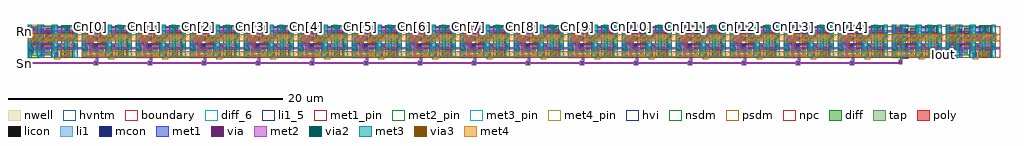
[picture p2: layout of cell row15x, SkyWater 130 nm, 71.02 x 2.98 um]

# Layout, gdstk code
import gdstk
lib = gdstk.Library(unit=1e-6, precision=1e-09)
def R(c, l, rs):  # rectangles x0, y0, x1, y1
    for r in rs: c.add(gdstk.rectangle(r[:2], r[2:], *l))
def A(c, l, x, y, w, h, nx, ny, dx, dy):  # array of equal rectangles
    R(c, l, [(x+i*dx, y+j*dy, x+i*dx+w, y+j*dy+h) for i in range(nx) for j in range(ny)])
nwell = (64, 20)
diff_6 = (65, 6)
diff = (65, 20)
tap = (65, 44)
poly = (66, 20)
licon = (66, 44)
li1_5 = (67, 5)
li1 = (67, 20)
mcon = (67, 44)
met1_pin = (68, 16)
met1 = (68, 20)
via = (68, 44)
met2_pin = (69, 16)
met2 = (69, 20)
via2 = (69, 44)
met3_pin = (70, 16)
met3 = (70, 20)
via3 = (70, 44)
met4_pin = (71, 16)
met4 = (71, 20)
hvi = (75, 20)
nsdm = (93, 44)
psdm = (94, 20)
npc = (95, 20)
hvntm = (125, 20)
boundary = (235, 4)

icell = lib.new_cell('icell')
R(icell, nwell, [(0,-0.04,0.86,2.43)])
R(icell, diff_6, [(2.65,1.13,3.05,1.28), (0.26,1.57,0.6,1.71)])
R(icell, diff, [(2.6,0.23,3.1,2.18), (1.28,0.32,1.59,0.66), (0.18,0.61,0.68,2.19), (1.28,0.66,1.78,2.19), (1.28,2.19,1.59,2.21)])
R(icell, tap, [(2.06,0.02,2.23,0.44), (0.18,0.14,0.68,0.61)])
R(icell, poly, [(2.16,0.58,3.54,1.08), (0.87,0.73,1.14,0.91), (0.05,0.91,1.92,1.06), (0.84,1.29,1.17,1.35), (2.16,1.33,3.54,1.83), (0.05,1.35,1.92,1.5), (0.84,1.5,1.17,1.56), (0.05,1.77,1.14,1.79), (0.05,1.79,1.92,1.92), (0.87,1.92,1.92,1.94), (0.87,1.94,1.14,2.12)])
A(icell, licon, 0.92, 0.81, 0.17, 0.17, 1, 3, 0, 0.53)
R(icell, licon, [(2.06,0.15,2.23,0.32), (2.765,0.295,2.935,0.465), (0.22,0.33,0.39,0.5), (0.22,0.67,0.39,0.84), (1.38,0.68,1.55,0.85), (2.225,0.745,2.395,0.915), (3.305,0.745,3.475,0.915), (0.47,1.12,0.64,1.29), (1.46,1.12,1.63,1.29), (2.225,1.495,2.395,1.665), (3.305,1.495,3.475,1.665), (1.37,1.56,1.54,1.73), (2.765,1.95,2.935,2.12), (0.39,1.98,0.56,2.15), (1.38,2,1.55,2.17)])
R(icell, li1_5, [(0.92,0.39,1.22,0.54), (1.3,2.01,1.36,2.15)])
R(icell, li1, [(2,0.07,2.23,0.4), (0.03,0.25,0.39,0.92), (2.6,0.28,3.1,0.48), (0.56,0.38,1.47,0.55), (0.56,0.55,0.73,1.12), (1.3,0.55,1.47,0.67), (2.16,0.58,2.46,0.67), (3.24,0.58,3.54,0.68), (1.3,0.67,2.46,0.68), (1.3,0.68,3.54,0.85), (0.92,0.72,1.09,1.07), (2.16,0.85,3.54,1.08), (0.03,0.92,0.22,1.98), (0.39,1.12,0.73,1.29), (1.28,1.12,1.96,1.29), (0.92,1.26,1.09,1.59), (1.79,1.29,1.96,2), (2.16,1.33,3.54,1.73), (1.29,1.56,1.62,1.73), (2.16,1.73,2.46,1.83), (3.24,1.73,3.54,1.83), (0.92,1.78,1.09,2.13), (2.6,1.93,3.1,2.18), (0.03,1.98,0.66,2.22), (1.28,2,1.96,2.17)])
A(icell, mcon, 0.92, 0.81, 0.17, 0.17, 1, 3, 0, 0.53)
R(icell, mcon, [(2.03,0.15,2.2,0.32), (2.765,0.295,2.935,0.465), (0.22,0.5,0.39,0.67), (3.305,1.495,3.475,1.665), (1.37,1.56,1.54,1.73), (2.765,1.95,2.935,2.12)])
R(icell, met1_pin, [(2.65,0.12,3.05,0.46), (0.12,0.46,0.37,0.71), (0.92,0.75,1.15,1.04), (0.47,1.3,0.72,1.55), (3.29,1.38,3.59,1.78), (1.78,1.5,2.03,1.75), (0.92,1.81,1.15,2.1)])
R(icell, met1, [(0.03,0,0.28,0.41), (1.7,0.07,2.23,0.4), (2.6,0.07,3.1,0.51), (1.7,0.4,2.08,1.47), (0.03,0.41,0.42,0.76), (0.89,0.72,1.18,1.07), (0.03,0.76,0.28,2.43), (0.42,1.25,1.14,1.6), (3.24,1.33,3.64,1.83), (1.29,1.47,2.08,1.81), (0.89,1.78,1.15,2.13), (1.7,1.81,2.08,1.88), (1.7,1.88,3.1,2.23)])
R(icell, hvi, [(2.415,0.045,3.285,2.365)])
R(icell, nsdm, [(0.055,0.015,0.805,0.195), (2.475,0.105,3.225,2.305), (0.055,0.195,1.715,0.535), (0.055,0.535,1.905,0.61), (1.155,0.61,1.905,2.315), (1.155,2.315,1.715,2.335)])
R(icell, psdm, [(1.935,-0.105,2.355,0.565), (0.055,0.61,0.805,2.315)])
R(icell, npc, [(2.125,0.645,2.495,1.015), (3.205,0.645,3.575,1.015), (0.82,0.71,1.19,2.14), (2.125,1.395,2.495,1.765), (3.205,1.395,3.575,1.765)])
R(icell, hvntm, [(2.415,0.045,3.285,2.365)])
R(icell, boundary, [(0,0,3.93,2.32)])
icell.add(gdstk.Label('PDM', (1.33,2.08), layer=67, texttype=5))
icell.add(gdstk.Label('Ien', (1.07,0.465), layer=67, texttype=5))
icell.add(gdstk.Label('Rn', (1.035,1.955), layer=68, texttype=5))
icell.add(gdstk.Label('VPWR', (0.245,0.585), layer=68, texttype=5))
icell.add(gdstk.Label('Sn', (1.035,0.895), layer=68, texttype=5))
icell.add(gdstk.Label('Cn', (0.595,1.425), layer=68, texttype=5))
icell.add(gdstk.Label('Iout', (2.85,0.29), layer=68, texttype=5))
icell.add(gdstk.Label('VGND', (1.905,1.625), layer=68, texttype=5))
icell.add(gdstk.Label('Vbias', (3.44,1.58), layer=68, texttype=5))
icell.add(gdstk.Label('PUM', (0.43,1.64), layer=65, texttype=6))
icell.add(gdstk.Label('SM', (2.85,1.205), layer=65, texttype=6))

icellwrap = lib.new_cell('icellwrap')
R(icellwrap, met1_pin, [(1,0,1.18,0.18), (0.57,2.2,0.75,2.32)])
R(icellwrap, met1, [(0.89,-0.55,1.15,-0.2), (1,-0.2,1.18,1.04), (0.57,0,0.75,1.22), (1.73,0,2.17,2.43), (2.6,0.07,2.99,0.48), (0,0.36,0.39,0.77), (0.57,1.22,0.99,1.63), (3.24,1.33,3.63,1.74), (0.57,1.63,0.75,2.43), (0.89,1.77,1.15,2.12), (1,2.12,1.18,2.43)])
R(icellwrap, via, [(0.945,-0.455,1.095,-0.305), (2.72,0.2,2.87,0.35), (0.12,0.49,0.27,0.64), (1.875,1.39,2.025,1.54), (3.36,1.46,3.51,1.61), (0.945,1.865,1.095,2.015)])
R(icellwrap, met2_pin, [(0,1.88,0.14,2.02)])
R(icellwrap, met2, [(0.86,-0.52,1.19,-0.44), (0,-0.44,3.93,-0.3), (0.86,-0.3,1.19,-0.24), (0,0,0.75,0.63), (2.6,0.07,2.99,0.48), (0,0.63,3.93,0.77), (0,0.77,0.75,1.7), (1.73,1.21,2.17,1.72), (3.24,1.33,3.63,1.74), (0.86,1.8,1.19,1.88), (0,1.88,3.93,2.02), (0.86,2.02,1.19,2.08)])
R(icellwrap, via2, [(2.695,0.175,2.895,0.375), (0.095,0.465,0.295,0.665), (1.85,1.365,2.05,1.565), (3.335,1.435,3.535,1.635)])
R(icellwrap, met3_pin, [(0,2.2,0.3,2.32), (1.73,2.2,2.17,2.32), (2.6,2.2,2.9,2.32), (3.33,2.2,3.63,2.32)])
R(icellwrap, met3, [(0,0,0.3,0.36), (1.73,0,2.17,2.43), (2.6,0,2.9,0.07), (3.33,0,3.63,1.33), (2.6,0.07,3.02,0.49), (0,0.36,0.39,0.77), (2.6,0.49,2.9,2.43), (0,0.77,0.3,2.43), (3.24,1.33,3.63,1.74), (3.33,1.74,3.63,2.43)])
R(icellwrap, via3, [(2.71,0.18,2.91,0.38), (1.85,1.365,2.05,1.565)])
R(icellwrap, met4, [(0,0.07,3.93,0.48), (0,1.21,3.93,1.72)])
R(icellwrap, boundary, [(0,0,3.93,2.32)])
icellwrap.add(gdstk.Reference(icell, (0,0)))
icellwrap.add(gdstk.Label('Cn', (0.66,2.26), layer=68, texttype=5))
icellwrap.add(gdstk.Label('Sn', (1.09,0.09), layer=68, texttype=5))
icellwrap.add(gdstk.Label('Rn', (0.07,1.95), layer=69, texttype=5))
icellwrap.add(gdstk.Label('Vbias', (3.48,2.26), layer=70, texttype=5))
icellwrap.add(gdstk.Label('Iout', (2.75,2.26), layer=70, texttype=5))
icellwrap.add(gdstk.Label('VGND', (1.95,2.26), layer=70, texttype=5))
icellwrap.add(gdstk.Label('VPWR', (0.15,2.26), layer=70, texttype=5))

icellwrapdummy = lib.new_cell('icellwrapdummy')
R(icellwrapdummy, met1, [(1,0,1.18,0.63), (1.73,0,2.17,2.43), (2.6,0.07,2.99,0.48), (0,0.36,0.39,0.63), (0,0.63,1.18,0.77), (1,0.77,1.18,1.22), (0.6,1.22,1.18,1.34), (3.24,1.33,3.63,1.74), (0.6,1.34,1.15,1.63), (0.89,1.63,1.15,1.95), (0.89,1.95,1.18,2.12), (1,2.12,1.18,2.43)])
R(icellwrapdummy, via, [(2.72,0.2,2.87,0.35), (0.12,0.49,0.27,0.64), (0.72,1.35,0.87,1.5), (1.875,1.39,2.025,1.54), (3.36,1.46,3.51,1.61)])
R(icellwrapdummy, met2, [(2.6,0.07,2.99,0.48), (0,0.36,0.39,0.63), (0,0.63,3.93,0.77), (0.6,1.21,1,1.63), (1.73,1.21,2.17,1.3), (1.73,1.3,3.63,1.45), (1.73,1.45,2.17,1.72), (3.24,1.45,3.63,1.74)])
R(icellwrapdummy, via2, [(2.695,0.175,2.895,0.375), (0.095,0.465,0.295,0.665), (0.695,1.325,0.895,1.525), (1.85,1.365,2.05,1.565), (3.335,1.435,3.535,1.635)])
R(icellwrapdummy, met3_pin, [(0,2.2,0.3,2.32), (1.73,2.2,2.17,2.32)])
R(icellwrapdummy, met3, [(0,0,0.3,0.36), (0.69,0,0.99,1.22), (1.73,0,2.17,2.43), (3.33,0,3.63,1.33), (2.6,0.07,3.02,0.49), (0,0.36,0.39,0.77), (2.6,0.49,2.9,2.02), (0,0.77,0.3,2.43), (0.6,1.22,0.99,1.63), (3.24,1.33,3.63,1.74), (0.69,1.63,0.99,2.43), (3.33,1.74,3.63,2.43)])
R(icellwrapdummy, via3, [(2.71,0.18,2.91,0.38), (1.85,1.365,2.05,1.565)])
R(icellwrapdummy, met4, [(2.4,0.07,3.2,0.48), (0,1.21,3.93,1.72)])
R(icellwrapdummy, boundary, [(0,0,3.93,2.32)])
icellwrapdummy.add(gdstk.Reference(icell, (0,0)))
icellwrapdummy.add(gdstk.Label('VGND', (1.95,2.26), layer=70, texttype=5))
icellwrapdummy.add(gdstk.Label('VPWR', (0.15,2.26), layer=70, texttype=5))

icellwrapfinal = lib.new_cell('icellwrapfinal')
R(icellwrapfinal, li1, [(0.21,1.95,1.09,2.12)])
R(icellwrapfinal, met1_pin, [(1,0,1.18,0.18)])
R(icellwrapfinal, met1, [(0.49,-0.47,0.75,-0.15), (0.61,-0.15,0.75,-0.05), (0.61,-0.05,1.18,0.09), (1.73,0,2.17,2.43), (2.6,0.07,2.99,0.48), (1,0.09,1.18,1.04), (0,0.36,0.39,0.77), (0.6,1.22,0.99,1.63), (3.24,1.33,3.63,1.74), (0.49,1.85,0.75,2.17), (0.61,2.17,0.75,2.27), (0.61,2.27,1.18,2.41), (1,2.41,1.18,2.43)])
R(icellwrapfinal, via, [(0.545,-0.385,0.695,-0.235), (2.72,0.2,2.87,0.35), (0.12,0.49,0.27,0.64), (0.72,1.35,0.87,1.5), (1.875,1.39,2.025,1.54), (3.36,1.46,3.51,1.61), (0.545,1.935,0.695,2.085)])
R(icellwrapfinal, met2_pin, [(0,1.88,0.14,2.02)])
R(icellwrapfinal, met2, [(0.49,-0.47,0.75,-0.44), (0,-0.44,0.75,-0.3), (0.49,-0.3,0.75,-0.15), (2.6,0.07,2.99,0.48), (0,0.36,0.39,0.63), (0,0.63,3.93,0.77), (1.73,1.21,2.17,1.72), (0.6,1.22,0.99,1.63), (3.24,1.33,3.63,1.74), (0.49,1.85,0.75,1.88), (0,1.88,0.75,2.02), (0.49,2.02,0.75,2.17)])
R(icellwrapfinal, via2, [(2.695,0.175,2.895,0.375), (0.095,0.465,0.295,0.665), (0.695,1.325,0.895,1.525), (1.85,1.365,2.05,1.565), (3.335,1.435,3.535,1.635)])
R(icellwrapfinal, met3_pin, [(0,2.2,0.3,2.32), (1.73,2.2,2.17,2.32), (2.6,2.2,2.9,2.32), (3.33,2.2,3.63,2.32)])
R(icellwrapfinal, met3, [(0,0,0.3,0.36), (0.69,0,0.99,1.22), (1.73,0,2.17,2.43), (2.6,0,2.9,0.07), (3.33,0,3.63,1.33), (2.6,0.07,3.02,0.49), (0,0.36,0.39,0.77), (2.6,0.49,2.9,2.43), (0,0.77,0.3,1.3), (0.6,1.22,0.99,1.3), (0,1.3,0.99,1.6), (3.24,1.33,3.63,1.74), (0,1.6,0.3,2.43), (0.6,1.6,0.99,1.63), (0.69,1.63,0.99,2.43), (3.33,1.74,3.63,2.43)])
R(icellwrapfinal, via3, [(2.71,0.18,2.91,0.38), (1.85,1.365,2.05,1.565)])
R(icellwrapfinal, met4, [(0,0.07,3.93,0.48), (0,1.21,3.93,1.72)])
R(icellwrapfinal, boundary, [(0,0,3.93,2.32)])
icellwrapfinal.add(gdstk.Reference(icell, (0,0)))
icellwrapfinal.add(gdstk.Label('Sn', (1.09,0.09), layer=68, texttype=5))
icellwrapfinal.add(gdstk.Label('Rn', (0.07,1.95), layer=69, texttype=5))
icellwrapfinal.add(gdstk.Label('Vbias', (3.48,2.26), layer=70, texttype=5))
icellwrapfinal.add(gdstk.Label('Iout', (2.75,2.26), layer=70, texttype=5))
icellwrapfinal.add(gdstk.Label('VGND', (1.95,2.26), layer=70, texttype=5))
icellwrapfinal.add(gdstk.Label('VPWR', (0.15,2.26), layer=70, texttype=5))

row15x = lib.new_cell('row15x')
A(row15x, met1_pin, 4.5, 2.2, 0.18, 0.12, 15, 1, 3.93, 0)
A(row15x, met1, 4.5, 2.2, 0.18, 0.12, 15, 1, 3.93, 0)
R(row15x, met2_pin, [(-0.28,-0.44,-0.14,-0.3), (-0.28,1.88,-0.14,2.02)])
R(row15x, met2, [(-0.28,-0.44,4.07,-0.3), (-0.28,1.88,4.07,2.02)])
R(row15x, met3_pin, [(0,2.2,0.3,2.32), (1.73,2.2,2.17,2.32), (7.26,2.2,7.56,2.32)])
R(row15x, met3, [(0,2.13,0.3,2.43), (1.73,2.13,2.17,2.43), (7.26,2.13,7.56,2.43)])
R(row15x, met4_pin, [(66.4,0.07,66.81,0.48)])
R(row15x, met4, [(66.4,0.07,66.81,0.48)])
R(row15x, boundary, [(0,0,70.74,2.32)])
row15x.add(gdstk.Reference(icellwrap, (3.93,0)))
row15x.add(gdstk.Reference(icellwrap, (7.86,0)))
row15x.add(gdstk.Reference(icellwrap, (11.79,0)))
row15x.add(gdstk.Reference(icellwrap, (15.72,0)))
row15x.add(gdstk.Reference(icellwrapdummy, (0,0)))
row15x.add(gdstk.Reference(icellwrapfinal, (62.88,0)))
row15x.add(gdstk.Reference(icellwrapdummy, (66.81,0)))
row15x.add(gdstk.Reference(icellwrap, (58.95,0)))
row15x.add(gdstk.Reference(icellwrap, (55.02,0)))
row15x.add(gdstk.Reference(icellwrap, (51.09,0)))
row15x.add(gdstk.Reference(icellwrap, (47.16,0)))
row15x.add(gdstk.Reference(icellwrap, (43.23,0)))
row15x.add(gdstk.Reference(icellwrap, (39.3,0)))
row15x.add(gdstk.Reference(icellwrap, (35.37,0)))
row15x.add(gdstk.Reference(icellwrap, (19.65,0)))
row15x.add(gdstk.Reference(icellwrap, (31.44,0)))
row15x.add(gdstk.Reference(icellwrap, (23.58,0)))
row15x.add(gdstk.Reference(icellwrap, (27.51,0)))
row15x.add(gdstk.Label('Cn[13]', (55.68,2.26), layer=68, texttype=5))
row15x.add(gdstk.Label('Cn[1]', (8.52,2.26), layer=68, texttype=5))
row15x.add(gdstk.Label('Cn[2]', (12.45,2.26), layer=68, texttype=5))
row15x.add(gdstk.Label('Cn[4]', (20.31,2.26), layer=68, texttype=5))
row15x.add(gdstk.Label('Cn[3]', (16.38,2.26), layer=68, texttype=5))
row15x.add(gdstk.Label('Cn[6]', (28.17,2.26), layer=68, texttype=5))
row15x.add(gdstk.Label('Cn[0]', (4.59,2.26), layer=68, texttype=5))
row15x.add(gdstk.Label('Cn[5]', (24.24,2.26), layer=68, texttype=5))
row15x.add(gdstk.Label('Cn[7]', (32.1,2.26), layer=68, texttype=5))
row15x.add(gdstk.Label('Cn[8]', (36.03,2.26), layer=68, texttype=5))
row15x.add(gdstk.Label('Cn[9]', (39.96,2.26), layer=68, texttype=5))
row15x.add(gdstk.Label('Cn[14]', (59.61,2.26), layer=68, texttype=5))
row15x.add(gdstk.Label('Cn[11]', (47.82,2.26), layer=68, texttype=5))
row15x.add(gdstk.Label('Cn[12]', (51.75,2.26), layer=68, texttype=5))
row15x.add(gdstk.Label('Cn[10]', (43.89,2.26), layer=68, texttype=5))
row15x.add(gdstk.Label('Iout', (66.605,0.275), layer=71, texttype=5))
row15x.add(gdstk.Label('Sn', (-0.21,-0.37), layer=69, texttype=5))
row15x.add(gdstk.Label('Rn', (-0.21,1.95), layer=69, texttype=5))
row15x.add(gdstk.Label('Vbias', (7.41,2.26), layer=70, texttype=5))
row15x.add(gdstk.Label('VGND', (1.95,2.26), layer=70, texttype=5))
row15x.add(gdstk.Label('VPWR', (0.15,2.26), layer=70, texttype=5))

lib.write_gds('row15x.gds')
